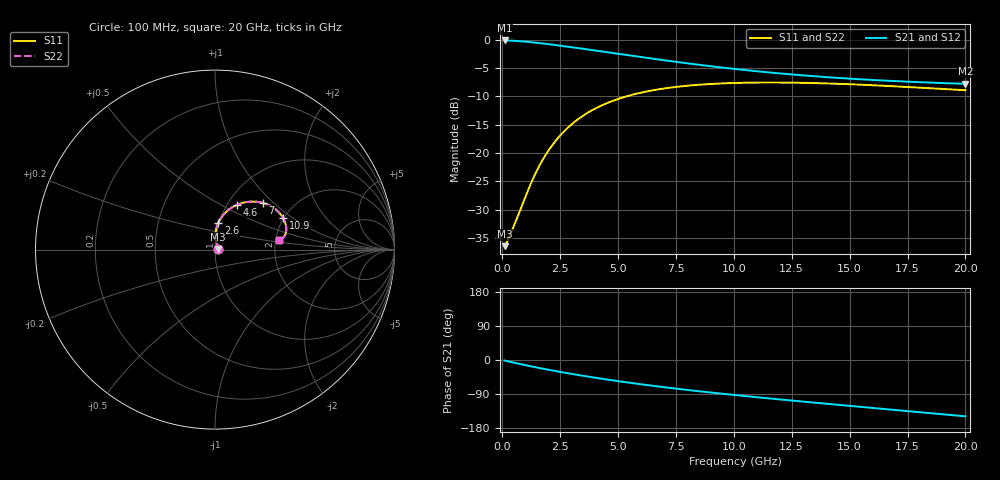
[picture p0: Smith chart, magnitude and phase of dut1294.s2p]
! Touchstone file exported from HFSS 2024.1.0
!  File:  C:/UserFiles/LocalFiles/RDL_TSV_Batchsim/temp_RDL_TSV_1294_1780280643.aedt
!  Generated:  10:39:05 AM Jun  1, 2026
!  Design:  RDL_TSV
!  Project:  temp_RDL_TSV_1294_1780280643
!  Setup:  Setup1
!  Solution:  Sweep
! Variables:
!  dtsv = 9.97um
!  hbump = 3um
!  htsv = 53.98um
!  ldown = 548.83um
!  lrdl = 139.64um
!  p = 40
!  p1 = 59.78um
!  rhole = 10um
!  subl = 2205.05um
!  t = 450um
!  tdown = 3.03um
!  trdl = 3.31um
!  viad = 10um
!  wdown = 16.47um
!  wrdl = 25.73um
!  xbump = 18um
# GHz S MA R 50.000000
! Terminal data exported
! Port[1] = TM1_1_T1
! Port[2] = TM1_4_T1
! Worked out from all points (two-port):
!   200 points, 100 MHz to 20 GHz, reference 50 ohm
!   highest |S21| = -0.13 dB at 100 MHz (marker M1); lowest = -7.8 dB at 20 GHz (marker M2)
!   |S21| within 3 dB of the highest: start of sweep to 6.114 GHz
!   lowest |S11| = -36.5 dB at 100 MHz (marker M3), VSWR 1.03, Z = 51.5 + j0.394 ohm
!   |S11| at or under -10 dB: start of sweep to 5.364 GHz
!   |S22| runs from -36.5 to -7.5 dB; largest |S21 - S12| = 1.8e-14
!   S11 on the Smith chart (normalised r, x): 100 MHz: 1.03, +0.01; 2.6 GHz: 0.99, +0.30; 4.6 GHz: 1.11, +0.60; 7 GHz: 1.42, +0.86; 10.9 GHz: 1.99, +0.84; 20 GHz: 2.08, +0.26
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0.1  0.01503 14.8  0.9851 -1.4  0.9851 -1.4  0.01503 14.8
! Gamma 0 0 0 0
! Port Impedance 50 0 50 0
0.3  0.01816 37.9  0.9824 -4.3  0.9824 -4.3  0.01816 37.9
0.7  0.02868 67.1  0.9722 -9.7  0.9722 -9.7  0.02868 67.2
1.2  0.05184 84.4  0.9527 -16.3  0.9527 -16.3  0.05185 84.4
1.5  0.07033 87.6  0.9385 -20.0  0.9385 -20.0  0.07035 87.7
1.7  0.08391 88.1  0.9284 -22.4  0.9284 -22.4  0.08394 88.2
2  0.1055 87.4  0.9127 -25.9  0.9127 -25.9  0.1055 87.4
2.3  0.1277 85.5  0.8965 -29.3  0.8965 -29.3  0.1278 85.5
2.6  0.1501 83.0  0.8801 -32.6  0.8801 -32.6  0.1502 83.0
3  0.1794 79.2  0.8581 -36.8  0.8581 -36.8  0.1795 79.2
3.5  0.214 74.2  0.8307 -41.9  0.8307 -41.9  0.2141 74.2
4  0.2459 69.2  0.8037 -46.7  0.8037 -46.7  0.246 69.2
4.6  0.2798 63.5  0.772 -52.2  0.772 -52.2  0.28 63.5
5.6  0.326 54.8  0.7217 -60.9  0.7217 -60.9  0.3262 54.8
6.8  0.3662 45.8  0.6667 -70.4  0.6667 -70.4  0.3664 45.8
7  0.3714 44.5  0.6582 -71.9  0.6582 -71.9  0.3717 44.5
8.5  0.4005 35.5  0.6002 -82.5  0.6002 -82.5  0.4007 35.5
10.1  0.4155 27.9  0.5499 -92.8  0.5499 -92.8  0.4157 27.9
10.9  0.4185 24.7  0.5287 -97.7  0.5287 -97.7  0.4188 24.7
13.4  0.4145 16.7  0.477 -112.1  0.477 -112.1  0.4148 16.7
16.7  0.3901 10.4  0.4336 -130.4  0.4336 -130.4  0.3904 10.4
20  0.3582 8.6  0.4079 -148.7  0.4079 -148.7  0.3585 8.6
